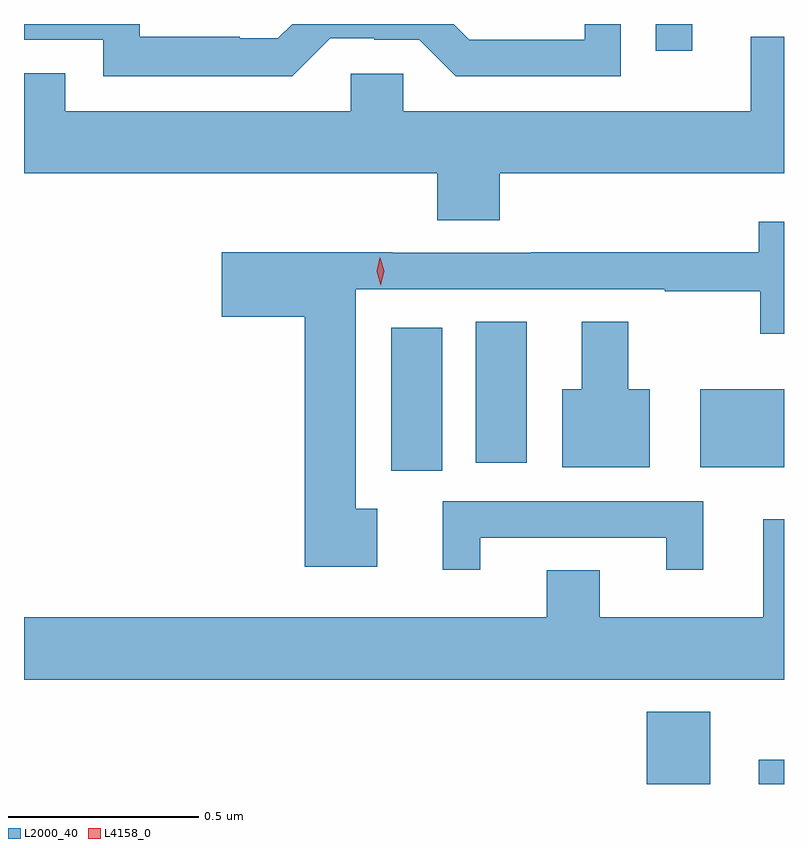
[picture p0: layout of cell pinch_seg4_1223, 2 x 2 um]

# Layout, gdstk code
import gdstk
lib = gdstk.Library(unit=1e-6, precision=1e-09)
def R(c, l, rs):  # rectangles x0, y0, x1, y1
    for r in rs: c.add(gdstk.rectangle(r[:2], r[2:], *l))
def P(c, l, *ps):  # polygons
    for p in ps: c.add(gdstk.Polygon(p, *l))
L2000_40 = (2000, 40)
L4158_0 = (4158, 0)

pinch_seg4_1223 = lib.new_cell('pinch_seg4_1223')
R(pinch_seg4_1223, L2000_40, [(625.568,784.557,625.735,784.747), (625.863,784.557,625.929,784.621), (624.896,785.382,625.03,785.758), (625.709,785.39,625.929,785.596), (625.118,785.403,625.252,785.774), (625.591,786.486,625.687,786.557)])
P(pinch_seg4_1223, L2000_40, [(624.735,786.519),(624.851,786.519),(624.851,786.516),(624.969,786.516),(625.065,786.42),(625.5,786.42),(625.5,786.557),(625.404,786.557),(625.404,786.516),(625.101,786.516),(625.06,786.557),(624.635,786.557),(624.597,786.519),(624.497,786.519),(624.497,786.523),(624.234,786.523),(624.234,786.557),(623.929,786.557),(623.929,786.516),(624.138,786.516),(624.138,786.419),(624.635,786.419)],
  [(625.181,786.164),(625.929,786.164),(625.929,786.523),(625.841,786.523),(625.841,786.328),(624.927,786.328),(624.927,786.426),(624.789,786.426),(624.789,786.328),(624.037,786.328),(624.037,786.427),(623.929,786.427),(623.929,786.164),(625.016,786.164),(625.016,786.04),(625.181,786.04)],
  [(624.859,785.282),(624.802,785.282),(624.802,785.859),(625.615,785.859),(625.615,785.854),(625.867,785.854),(625.867,785.742),(625.929,785.742),(625.929,786.037),(625.862,786.037),(625.862,785.957),(625.264,785.957),(625.264,785.955),(624.898,785.955),(624.898,785.957),(624.45,785.957),(624.45,785.786),(624.668,785.786),(624.668,785.129),(624.859,785.129)],
  [(625.576,785.596),(625.519,785.596),(625.519,785.774),(625.397,785.774),(625.397,785.596),(625.346,785.596),(625.346,785.39),(625.576,785.39)],
  [(625.129,785.205),(625.619,785.205),(625.619,785.121),(625.717,785.121),(625.717,785.301),(625.031,785.301),(625.031,785.121),(625.129,785.121)],
  [(625.929,785.254),(625.874,785.254),(625.874,784.996),(625.444,784.996),(625.444,785.12),(625.304,785.12),(625.304,784.996),(623.929,784.996),(623.929,784.832),(625.929,784.832)])
P(pinch_seg4_1223, L4158_0, [(624.868,785.87),(624.868,785.87),(624.857,785.906),(624.865,785.942),(624.865,785.942),(624.866,785.942),(624.877,785.906),(624.868,785.87)])

lib.write_gds('pinch_seg4_1223.gds')
